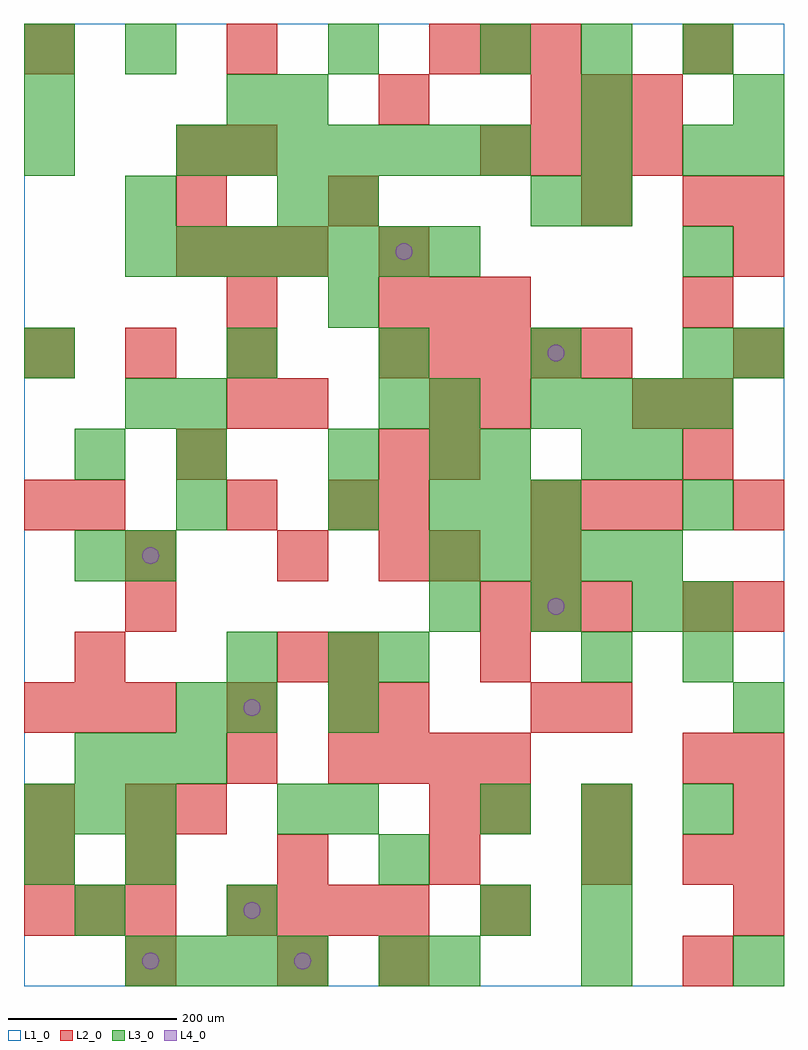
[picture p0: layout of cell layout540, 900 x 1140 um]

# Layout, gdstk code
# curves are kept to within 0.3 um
import gdstk
lib = gdstk.Library(unit=1e-6, precision=1e-09)
def R(c, l, rs):  # rectangles x0, y0, x1, y1
    for r in rs: c.add(gdstk.rectangle(r[:2], r[2:], *l))
def A(c, l, x, y, w, h, nx, ny, dx, dy):  # array of equal rectangles
    R(c, l, [(x+i*dx, y+j*dy, x+i*dx+w, y+j*dy+h) for i in range(nx) for j in range(ny)])
def P(c, l, *ps):  # polygons
    for p in ps: c.add(gdstk.Polygon(p, *l))
L1_0 = (1, 0)
L2_0 = (2, 0)
L3_0 = (3, 0)
L4_0 = (4, 0)

layout540 = lib.new_cell('layout540')
R(layout540, L1_0, [(0,0,900,1140)])
A(layout540, L2_0, 780, 0, 60, 60, 1, 3, 0, 120)
A(layout540, L2_0, 0, 60, 60, 60, 3, 2, 60, 240)
A(layout540, L2_0, 240, 60, 60, 60, 4, 1, 60, 0)
A(layout540, L2_0, 840, 60, 60, 60, 1, 4, 0, 60)
A(layout540, L2_0, 120, 120, 60, 60, 4, 1, 180, 0)
A(layout540, L2_0, 360, 240, 60, 60, 4, 1, 60, 0)
A(layout540, L2_0, 540, 420, 60, 60, 3, 1, 60, 0)
A(layout540, L2_0, 420, 480, 60, 60, 1, 3, 0, 60)
A(layout540, L2_0, 240, 540, 60, 60, 1, 3, 0, 120)
A(layout540, L2_0, 600, 540, 60, 60, 3, 2, 60, 480)
A(layout540, L2_0, 780, 660, 60, 60, 1, 3, 0, 120)
A(layout540, L2_0, 0, 720, 60, 60, 3, 1, 120, 0)
A(layout540, L2_0, 420, 720, 60, 60, 5, 1, 60, 0)
A(layout540, L2_0, 420, 780, 60, 60, 3, 1, 60, 0)
A(layout540, L2_0, 180, 840, 60, 60, 3, 1, 60, 0)
A(layout540, L2_0, 540, 960, 60, 60, 4, 1, 60, 0)
A(layout540, L2_0, 0, 1080, 60, 60, 3, 1, 240, 0)
R(layout540, L2_0, [(120,0,180,60), (300,0,360,60), (420,0,480,60), (540,60,600,120), (0,120,60,180), (0,180,60,240), (120,180,180,240), (180,180,240,240), (480,180,540,240), (540,180,600,240), (660,180,720,240), (240,240,300,300), (240,300,300,360), (360,300,420,360), (420,300,480,360), (600,300,660,360), (660,300,720,360), (60,360,120,420), (300,360,360,420), (360,360,420,420), (540,360,600,420), (120,420,180,480), (780,420,840,480), (840,420,900,480), (120,480,180,540), (300,480,360,540), (480,480,540,540), (600,480,660,540), (0,540,60,600), (60,540,120,600), (360,540,420,600), (840,540,900,600), (180,600,240,660), (480,600,540,660), (780,600,840,660), (300,660,360,720), (480,660,540,720), (540,660,600,720), (720,660,780,720), (840,720,900,780), (420,840,480,900), (840,840,900,900), (180,900,240,960), (360,900,420,960), (660,900,720,960), (840,900,900,960), (180,960,240,1020), (240,960,300,1020), (420,1020,480,1080), (540,1080,600,1140), (600,1080,660,1140), (780,1080,840,1140)])
A(layout540, L3_0, 120, 0, 60, 60, 4, 1, 60, 0)
A(layout540, L3_0, 480, 0, 60, 60, 3, 1, 180, 0)
A(layout540, L3_0, 660, 120, 60, 60, 1, 3, 0, 240)
A(layout540, L3_0, 0, 180, 60, 60, 3, 1, 60, 0)
A(layout540, L3_0, 540, 180, 60, 60, 3, 2, 120, 900)
A(layout540, L3_0, 60, 240, 60, 60, 3, 1, 60, 0)
A(layout540, L3_0, 480, 420, 60, 60, 3, 1, 120, 0)
A(layout540, L3_0, 480, 480, 60, 60, 5, 1, 60, 0)
A(layout540, L3_0, 180, 540, 60, 60, 1, 3, 0, 60)
A(layout540, L3_0, 480, 540, 60, 60, 3, 1, 60, 0)
A(layout540, L3_0, 600, 660, 60, 60, 4, 1, 60, 0)
A(layout540, L3_0, 240, 720, 60, 60, 4, 1, 180, 0)
A(layout540, L3_0, 120, 840, 60, 60, 7, 1, 60, 0)
A(layout540, L3_0, 660, 900, 60, 60, 1, 3, 0, 60)
A(layout540, L3_0, 0, 960, 60, 60, 1, 3, 0, 60)
A(layout540, L3_0, 180, 960, 60, 60, 7, 1, 60, 0)
R(layout540, L3_0, [(420,0,480,60), (60,60,120,120), (240,60,300,120), (540,60,600,120), (660,60,720,120), (0,120,60,180), (120,120,180,180), (420,120,480,180), (300,180,360,240), (360,180,420,240), (180,300,240,360), (240,300,300,360), (360,300,420,360), (840,300,900,360), (240,360,300,420), (360,360,420,420), (420,360,480,420), (780,360,840,420), (780,420,840,480), (60,480,120,540), (120,480,180,540), (360,540,420,600), (780,540,840,600), (60,600,120,660), (360,600,420,660), (480,600,540,660), (540,600,600,660), (720,600,780,660), (120,660,180,720), (420,660,480,720), (480,660,540,720), (0,720,60,780), (840,720,900,780), (360,780,420,840), (780,840,840,900), (120,900,180,960), (300,900,360,960), (360,900,420,960), (600,900,660,960), (780,960,840,1020), (840,960,900,1020), (240,1020,300,1080), (300,1020,360,1080), (840,1020,900,1080), (120,1080,180,1140), (360,1080,420,1140)])
P(layout540, L4_0, [(160,30),(159.239,33.827),(157.071,37.071),(153.827,39.239),(150,40),(146.173,39.239),(142.929,37.071),(140.761,33.827),(140,30),(140.761,26.173),(142.929,22.929),(146.173,20.761),(150,20),(153.827,20.761),(157.071,22.929),(159.239,26.173)],
  [(160,510),(159.239,513.827),(157.071,517.071),(153.827,519.239),(150,520),(146.173,519.239),(142.929,517.071),(140.761,513.827),(140,510),(140.761,506.173),(142.929,502.929),(146.173,500.761),(150,500),(153.827,500.761),(157.071,502.929),(159.239,506.173)],
  [(280,90),(279.239,93.827),(277.071,97.071),(273.827,99.239),(270,100),(266.173,99.239),(262.929,97.071),(260.761,93.827),(260,90),(260.761,86.173),(262.929,82.929),(266.173,80.761),(270,80),(273.827,80.761),(277.071,82.929),(279.239,86.173)],
  [(280,330),(279.239,333.827),(277.071,337.071),(273.827,339.239),(270,340),(266.173,339.239),(262.929,337.071),(260.761,333.827),(260,330),(260.761,326.173),(262.929,322.929),(266.173,320.761),(270,320),(273.827,320.761),(277.071,322.929),(279.239,326.173)],
  [(340,30),(339.239,33.827),(337.071,37.071),(333.827,39.239),(330,40),(326.173,39.239),(322.929,37.071),(320.761,33.827),(320,30),(320.761,26.173),(322.929,22.929),(326.173,20.761),(330,20),(333.827,20.761),(337.071,22.929),(339.239,26.173)],
  [(460,870),(459.239,873.827),(457.071,877.071),(453.827,879.239),(450,880),(446.173,879.239),(442.929,877.071),(440.761,873.827),(440,870),(440.761,866.173),(442.929,862.929),(446.173,860.761),(450,860),(453.827,860.761),(457.071,862.929),(459.239,866.173)],
  [(640,450),(639.239,453.827),(637.071,457.071),(633.827,459.239),(630,460),(626.173,459.239),(622.929,457.071),(620.761,453.827),(620,450),(620.761,446.173),(622.929,442.929),(626.173,440.761),(630,440),(633.827,440.761),(637.071,442.929),(639.239,446.173)],
  [(640,750),(639.239,753.827),(637.071,757.071),(633.827,759.239),(630,760),(626.173,759.239),(622.929,757.071),(620.761,753.827),(620,750),(620.761,746.173),(622.929,742.929),(626.173,740.761),(630,740),(633.827,740.761),(637.071,742.929),(639.239,746.173)])

lib.write_gds('layout540.gds')
